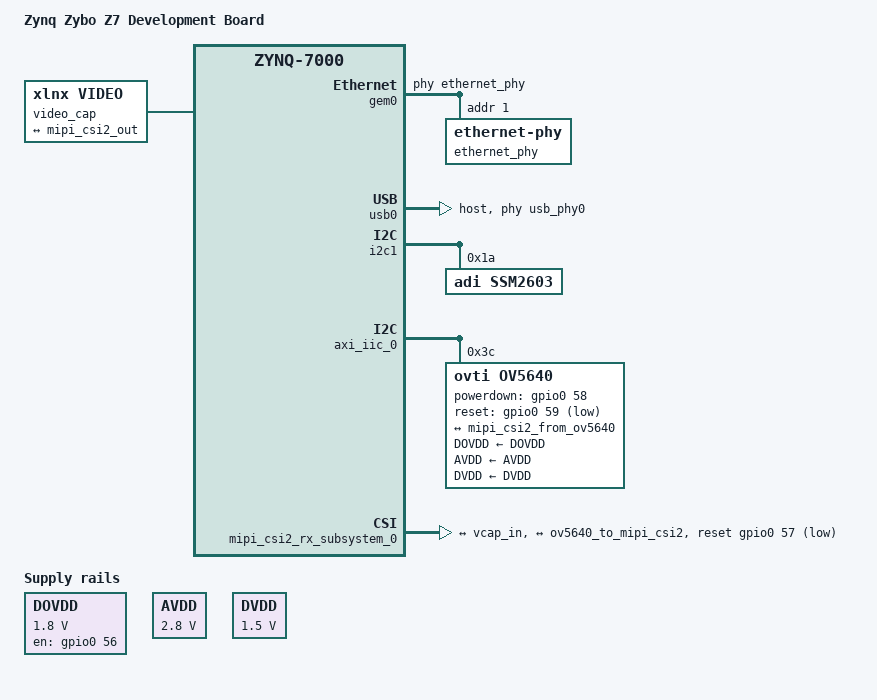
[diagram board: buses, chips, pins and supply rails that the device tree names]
/include/ "system-conf.dtsi"
#include <dt-bindings/gpio/gpio.h>
#include <dt-bindings/media/xilinx-vip.h>

/ {
	model = "Zynq Zybo Z7 Development Board";
	compatible = "digilent,zynq-zyboz7", "xlnx,zynq-7000";

	chosen {
		bootargs = "console=ttyPS0,115200 earlyprintk uio_pdrv_genirq.of_id=generic-uio";
	};

	usb_phy0: usb_phy@0 {
		compatible = "ulpi-phy";
		#phy-cells = <0>;
		reg = <0xe0002000 0x1000>;
		view-port = <0x0170>;
		drv-vbus;
	};


};

&gem0 {
	phy-handle = <&ethernet_phy>;
/*	phy-reset-gpio = <&axi_gpio_eth 0 0>;
	phy-reset-active-low;	
	phy-reset-duration = <10>; */
	ethernet_phy: ethernet-phy@1 { /* rtl8211e-vl */
		reg = <1>;
		device_type = "ethernet-phy";
	};
};

&usb0 {	
	dr_mode = "host";
	usb-phy = <&usb_phy0>;
};
&sdhci0 {
	u-boot,dm-pre-reloc;
};
&uart1 {
	u-boot,dm-pre-reloc;
};

&qspi {
	u-boot,dm-pre-reloc;
};
&flash0 {
	compatible = "micron,m25p80", "s25fl128s", "spi-flash";
};



&amba_pl {
	encoder_0: digilent_encoder {
		compatible = "digilent,drm-encoder";
		digilent,fmax = <150000>;
		digilent,edid-i2c = <&i2c0>;
	};

	xilinx_drm {
		compatible = "xlnx,drm";
		xlnx,vtc = <&v_tc_out>;
		xlnx,connector-type = "HDMIA";
		xlnx,encoder-slave = <&encoder_0>;
		clocks = <&axi_dynclk_0>;
		planes {
			xlnx,pixel-format = "rgb888";
			plane0 {
				dmas = <&axi_vdma_1 0>;
				dma-names = "dma0";
			};
		};
	};
};
&axi_dynclk_0 {
	compatible = "digilent,axi-dynclk";
	#clock-cells = <0>;
	clocks = <&clkc 15>;
};
&axi_vdma_1 {
	dma-ranges = <0x00000000 0x00000000 0x40000000>;
};
&v_tc_out {
	compatible = "xlnx,v-tc-5.01.a";
};



&v_tc_in {
	compatible = "generic-uio";
};
&axi_vdma_0 {
	compatible = "generic-uio";	
};
&axi_gpio_video {
	compatible = "generic-uio";	
};
&pwm_rgb {
	compatible = "generic-uio";	
};


&amba_pl {
	i2s_clk: i2s_clk {
		#clock-cells = <0>;
		compatible = "fixed-clock";
		clock-frequency = <12000000>;
		clock-output-names = "i2s_clk";
	};

	sound {
		compatible = "simple-audio-card";
		simple-audio-card,name = "Zybo-Z7-Sound-Card";
		simple-audio-card,format = "i2s";
		simple-audio-card,bitclock-master = <&dailink0_master>;
		simple-audio-card,frame-master = <&dailink0_master>;
		simple-audio-card,widgets =
			"Microphone", "Microphone Jack",
			"Headphone", "Headphone Jack",
			"Line", "Line In Jack";
		simple-audio-card,routing =
			"MICIN", "Microphone Jack",
			"Headphone Jack", "LHPOUT",
			"Headphone Jack", "RHPOUT",
			"LLINEIN", "Line In Jack",
			"RLINEIN", "Line In Jack";
		dailink0_master: simple-audio-card,cpu {
			clocks = <&i2s_clk>;
			sound-dai = <&axi_i2s_adi_0>;
		};
		simple-audio-card,codec {
			clocks = <&i2s_clk>;
			sound-dai = <&ssm2603>;
		};
	};
};
&axi_i2s_adi_0 {
	#sound-dai-cells = <0>;
	compatible = "adi,axi-i2s-1.00.a";
	clocks = <&clkc 15>, <&i2s_clk>;
	clock-names = "axi", "ref";
	dmas = <&dmac_s 0 &dmac_s 1>;
	dma-names = "tx", "rx";
};
&i2c1 {
	ssm2603: ssm2603@1a{
		#sound-dai-cells = <0>;
		compatible = "adi,ssm2603";
		reg = <0x1a>;
	};
};

&axi_gpio_led {
	compatible = "generic-uio";
};


&axi_gpio_sw_btn {
	compatible = "generic-uio";
};

&axi_gpio_eth {
	#gpio-cells = <3>;
	clock-names = "s_axi_aclk";
	clocks = <&clkc 15>;
};

/ {

	pcam_clk: pcam_clk {
		#clock-cells = <0>;
		compatible = "fixed-clock";
		clock-frequency = <12000000>;
	};
	DOVDD: fixed_regulator_DOVDD@0 {
		compatible = "regulator-fixed";
		regulator-name = "DOVDD_reg";
		regulator-min-microvolt = <1800000>;
		regulator-max-microvolt = <1800000>;
		gpio = <&gpio0 56 GPIO_ACTIVE_HIGH>;
		startup-delay-us = <50000>;  
		enable-active-high;
	};
	AVDD: fixed_regulator_AVDD@1 {
		compatible = "regulator-fixed";
		regulator-name = "AVDD_reg";
		regulator-min-microvolt = <2800000>;
		regulator-max-microvolt = <2800000>;

	};
	DVDD: fixed_regulator_DVDD@2 {
		compatible = "regulator-fixed";
		regulator-name = "DVDD_reg";
		regulator-min-microvolt = <1500000>;
		regulator-max-microvolt = <1500000>;
	};
};

&axi_iic_0 {
	clocks = <&clkc 15>;
	ov5640: camera@3c {
		compatible = "ovti,ov5640";
		reg = <0x3c>;
		clocks = <&pcam_clk>;
		clock-names = "xclk";
		DOVDD-supply = <&DOVDD>; /* 1.8v */
		AVDD-supply = <&AVDD>;  /* 2.8v */
		DVDD-supply = <&DVDD>;  /* 1.5v */

		powerdown-gpios = <&gpio0 58 GPIO_ACTIVE_HIGH>;
		reset-gpios = <&gpio0 59 GPIO_ACTIVE_LOW>;
		port {
			ov5640_to_mipi_csi2: endpoint {
				remote-endpoint = <&mipi_csi2_from_ov5640>;
				clock-lanes = <0>;
				data-lanes = <1 2>;
			};
		};
	};
};


&mipi_csi2_rx_subsystem_0 {
	compatible = "xlnx,mipi-csi2-rx-subsystem-2.0";
	clocks = <&clkc 15>;
	xlnx,max-lanes = <0x2>;
	xlnx,dphy-present;
	xlnx,vc = <0x4>;
	xlnx,csi-pxl-format = "YUV422_8bit";
	xlnx,vfb;
	xlnx,ppc = <0x1>;
	xlnx,axis-tdata-width = <0x10>;
	reset-gpios = <&gpio0 57 GPIO_ACTIVE_LOW>;
	ports {
		#address-cells = <1>;
		#size-cells = <0>;

		port@0 {
			reg = <0>;
			xlnx,video-format = <XVIP_VF_YUV_422>;
			xlnx,video-width = <8>;
			mipi_csi2_out: endpoint {
				remote-endpoint = <&vcap_in>;
			};
		};
		port@1 {
			reg = <1>;
			xlnx,video-format = <XVIP_VF_YUV_422>;
			xlnx,video-width = <8>;
			mipi_csi2_from_ov5640: endpoint {
				data-lanes = <1 2>;
				remote-endpoint = <&ov5640_to_mipi_csi2>;
			};

		};

	};
};



&v_frmbuf_wr_0 {
	#dma-cells = <1>;
	compatible = "xlnx,axi-frmbuf-wr-v2";
	clocks = <&clkc 15>;
	clock-names = "axis";
	reset-gpios = <&gpio0 54 GPIO_ACTIVE_LOW>;
	xlnx,dma-addr-width = <32>;
	xlnx,vid-formats = "yuyv", "uyvy", "nv16";
	xlnx,pixels-per-clock = <1>;
};

&amba_pl {
	video_cap {
		compatible = "xlnx,video";
		dmas = <&v_frmbuf_wr_0 0>;
		dma-names = "port0";

		ports {
			#address-cells = <1>;
			#size-cells = <0>;

			port@0 {
				reg = <0>;
				direction = "input";
				vcap_in: endpoint {
					remote-endpoint = <&mipi_csi2_out>;
				};
			};
		};
	};
};

/*
&v_proc_ss_0 {
	compatible = "xlnx,v-vpss-scaler";
	clocks = <&clkc 15>;
	xlnx,num-hori-taps = <8>;
	xlnx,num-vert-taps = <8>;
	xlnx,max-num-phases = <64>;
	xlnx,max-lines = <2160>;
	xlnx,max-pixels = <3840>;
	xlnx,pix-per-clk = <1>;
	reset-gpios = <&gpio0 55 GPIO_ACTIVE_LOW>;

	ports {
		#address-cells = <1>;
		#size-cells = <0>;

		port@0 {
			reg = <0>;

			xlnx,video-format = <XVIP_VF_YUV_422>;
			xlnx,video-width = <8>;

			scaler_in: endpoint {
				remote-endpoint = <&mipi_csi2_out>;
			};
		};
		port@1 {
			reg = <1>;

			xlnx,video-format = <XVIP_VF_YUV_422>;
			xlnx,video-width = <8>;

			scaler_out: endpoint {
				remote-endpoint = <&vcap_in>;
			};
		};
	};
};
*/

